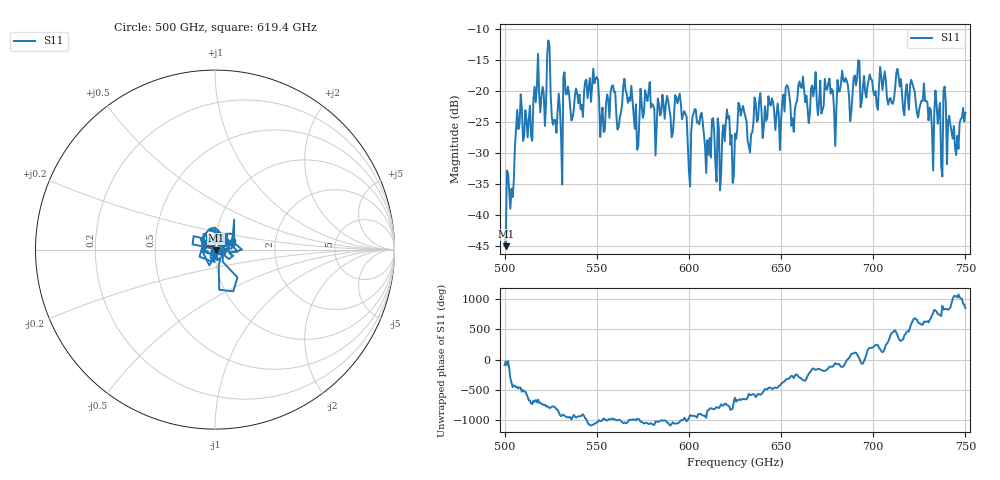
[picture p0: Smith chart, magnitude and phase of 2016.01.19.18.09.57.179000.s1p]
!Created with skrf (http://scikit-rf.org).
# GHz S RI R 50.0
!freq ReS11 ImS11
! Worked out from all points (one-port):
!   401 points, 500 GHz to 750 GHz, reference 50 ohm
!   lowest |S11| = -45.1 dB at 500.6 GHz (marker M1), VSWR 1.01, Z = 50.5 - j0.293 ohm
!   |S11| at or under -10 dB: start of sweep to end of sweep
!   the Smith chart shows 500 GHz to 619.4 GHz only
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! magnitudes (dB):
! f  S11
! 500 GHz  -42.7
! 500.6 GHz  -45.1
! 507.5 GHz  -26.2
! 513.8 GHz  -22.4
! 516.9 GHz  -21.9
! 520.6 GHz  -19.4
! 523.8 GHz  -11.9
! 526.9 GHz  -24.7
! 531.2 GHz  -35.1
! 533.1 GHz  -20.5
! 549.4 GHz  -18.1
! 553.1 GHz  -22.7
! 558.8 GHz  -19.1
! 562.5 GHz  -24.4
! 593.8 GHz  -22.1
! 600 GHz  -32.9
! 603.1 GHz  -23.0
! 625 GHz  -26.9
! 628.1 GHz  -24.0
! 633.1 GHz  -30.0
! 637.5 GHz  -24.7
! 656.2 GHz  -24.5
! 660.6 GHz  -19.5
! 687.5 GHz  -24.9
! 691.2 GHz  -18.0
! 718.8 GHz  -21.2
! 745 GHz  -30.4
! 750 GHz  -23.6
